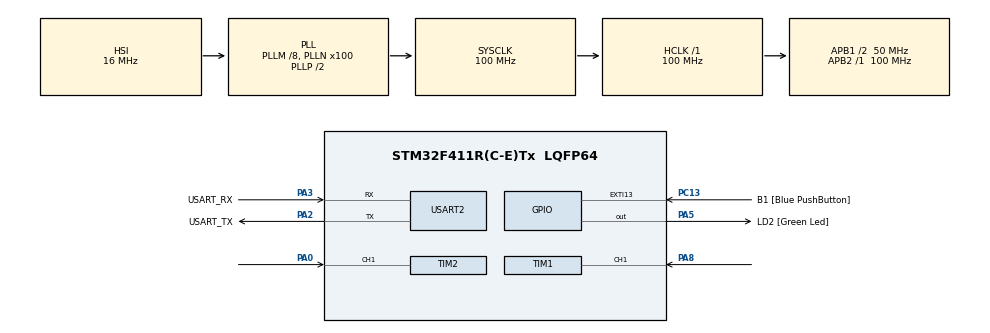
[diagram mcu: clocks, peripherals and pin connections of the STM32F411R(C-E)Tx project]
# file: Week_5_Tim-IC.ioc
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Dma.Request0=TIM1_CH1
Dma.Request1=TIM2_CH1
Dma.TIM1_CH1.0.Direction=DMA_PERIPH_TO_MEMORY
Dma.TIM1_CH1.0.FIFOMode=DMA_FIFOMODE_DISABLE
Dma.TIM1_CH1.0.Instance=DMA2_Stream1
Dma.TIM1_CH1.0.MemDataAlignment=DMA_MDATAALIGN_HALFWORD
Dma.TIM1_CH1.0.MemInc=DMA_MINC_ENABLE
Dma.TIM1_CH1.0.Mode=DMA_CIRCULAR
Dma.TIM1_CH1.0.PeriphDataAlignment=DMA_PDATAALIGN_HALFWORD
Dma.TIM1_CH1.0.PeriphInc=DMA_PINC_DISABLE
Dma.TIM1_CH1.0.Priority=DMA_PRIORITY_LOW
Dma.TIM2_CH1.1.Direction=DMA_PERIPH_TO_MEMORY
Dma.TIM2_CH1.1.FIFOMode=DMA_FIFOMODE_DISABLE
Dma.TIM2_CH1.1.Instance=DMA1_Stream5
Dma.TIM2_CH1.1.MemDataAlignment=DMA_MDATAALIGN_WORD
Dma.TIM2_CH1.1.MemInc=DMA_MINC_ENABLE
Dma.TIM2_CH1.1.Mode=DMA_CIRCULAR
Dma.TIM2_CH1.1.PeriphDataAlignment=DMA_PDATAALIGN_WORD
Dma.TIM2_CH1.1.PeriphInc=DMA_PINC_DISABLE
Dma.TIM2_CH1.1.Priority=DMA_PRIORITY_LOW
Mcu.Family=STM32F4
Mcu.Name=STM32F411R(C-E)Tx
Mcu.Package=LQFP64
NVIC.DMA1_Stream5_IRQn=true\:0\:0\:false\:false\:true\:false\:true
NVIC.DMA2_Stream1_IRQn=true\:0\:0\:false\:false\:true\:false\:true
NVIC.PriorityGroup=NVIC_PRIORITYGROUP_0
NVIC.TIM1_TRG_COM_TIM11_IRQn=true\:0\:0\:false\:false\:true\:true\:true
NVIC.TIM2_IRQn=true\:0\:0\:false\:false\:true\:true\:true
NVIC.TIM5_IRQn=true\:0\:0\:false\:false\:true\:true\:true
PA0-WKUP.Signal=S_TIM2_CH1_ETR
PA13.GPIO_Label=TMS
PA13.Mode=Serial_Wire
PA13.Signal=SYS_JTMS-SWDIO
PA14.GPIO_Label=TCK
PA14.Mode=Serial_Wire
PA14.Signal=SYS_JTCK-SWCLK
PA2.GPIO_Label=USART_TX
PA2.Mode=Asynchronous
PA2.Signal=USART2_TX
PA3.GPIO_Label=USART_RX
PA3.Mode=Asynchronous
PA3.Signal=USART2_RX
PA5.GPIO_Label=LD2 [Green Led]
PA5.Signal=GPIO_Output
PA8.Signal=S_TIM1_CH1
PB3.GPIO_Label=SWO
PB3.Signal=SYS_JTDO-SWO
PC13-ANTI_TAMP.GPIO_Label=B1 [Blue PushButton]
PC13-ANTI_TAMP.GPIO_ModeDefaultEXTI=GPIO_MODE_IT_FALLING
PC13-ANTI_TAMP.Signal=GPXTI13
PC14-OSC32_IN.Mode=LSE-External-Oscillator
PC14-OSC32_IN.Signal=RCC_OSC32_IN
PC15-OSC32_OUT.Mode=LSE-External-Oscillator
PC15-OSC32_OUT.Signal=RCC_OSC32_OUT
PH0\ -\ OSC_IN.Mode=HSE-External-Clock-Source
PH0\ -\ OSC_IN.Signal=RCC_OSC_IN
PH1\ -\ OSC_OUT.Mode=HSE-External-Clock-Source
PH1\ -\ OSC_OUT.Signal=RCC_OSC_OUT
ProjectManager.HeapSize=0x200
ProjectManager.StackSize=0x400
ProjectManager.TargetToolchain=STM32CubeIDE
RCC.48MHZClocksFreq_Value=50000000
RCC.AHBFreq_Value=100000000
RCC.APB1CLKDivider=RCC_HCLK_DIV2
RCC.APB1Freq_Value=50000000
RCC.APB1TimFreq_Value=100000000
RCC.APB2Freq_Value=100000000
RCC.APB2TimFreq_Value=100000000
RCC.CortexFreq_Value=100000000
RCC.FLatency-AdvancedSettings=FLASH_LATENCY_3
RCC.HCLKFreq_Value=100000000
RCC.HSE_VALUE=8000000
RCC.HSI_VALUE=16000000
RCC.PLLM=8
RCC.PLLN=100
RCC.SYSCLKFreq_VALUE=100000000
RCC.SYSCLKSource=RCC_SYSCLKSOURCE_PLLCLK
RCC.VCOOutputFreq_Value=200000000
SH.S_TIM1_CH1.0=TIM1_CH1,Input_Capture1_from_TI1
SH.S_TIM2_CH1_ETR.0=TIM2_CH1,Input_Capture1_from_TI1
TIM1.Channel-Input_Capture1_from_TI1=TIM_CHANNEL_1
TIM1.ICFilter_CH1=2
TIM1.Prescaler=99
TIM11.AutoReloadPreload=TIM_AUTORELOAD_PRELOAD_DISABLE
TIM11.Prescaler=99
TIM2.Channel-Input_Capture1_from_TI1=TIM_CHANNEL_1
TIM2.Prescaler=99
TIM5.Prescaler=99
USART2.VirtualMode=VM_ASYNC
VP_TIM11_VS_ClockSourceINT.Mode=Enable_Timer
VP_TIM1_VS_ClockSourceINT.Mode=Internal
VP_TIM2_VS_ClockSourceINT.Mode=Internal
VP_TIM5_VS_ClockSourceINT.Mode=Internal
board=NUCLEO-F411RE

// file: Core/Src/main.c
/* USER CODE BEGIN Header */
/**
  ******************************************************************************
  * @file           : main.c
  * @brief          : Main program body
  ******************************************************************************
  * @attention
  *
  * <h2><center>&copy; Copyright (c) 2021 STMicroelectronics.
  * All rights reserved.</center></h2>
  *
  * This software component is licensed by ST under BSD 3-Clause license,
  * the "License"; You may not use this file except in compliance with the
  * License. You may obtain a copy of the License at:
  *                        opensource.org/licenses/BSD-3-Clause
  *
  ******************************************************************************
  */
/* USER CODE END Header */
#include "main.h"

/* USER CODE BEGIN PD */
#define CAPTURENUM 16
/* USER CODE END PD */

TIM_HandleTypeDef htim1;
TIM_HandleTypeDef htim2;
TIM_HandleTypeDef htim5;
TIM_HandleTypeDef htim11;
DMA_HandleTypeDef hdma_tim1_ch1;
DMA_HandleTypeDef hdma_tim2_ch1;

UART_HandleTypeDef huart2;

/* USER CODE BEGIN PV */

// Microsecond Measurement
uint64_t _Micros = 0;

uint64_t Timestamp = 0;

// DMA Buffer
uint32_t CaptureData[CAPTURENUM] = { 0 };

// Different Time of CaptureData
int64_t DiffTime[CAPTURENUM - 1] = { 0 };

// Mean DiffTime
float MeanTime = 0;

// RPM
float Motor_RPM = 0;

/* USER CODE END PV */

void SystemClock_Config(void);
static void MX_GPIO_Init(void);
static void MX_DMA_Init(void);
static void MX_USART2_UART_Init(void);
static void MX_TIM11_Init(void);
static void MX_TIM1_Init(void);
static void MX_TIM2_Init(void);
static void MX_TIM5_Init(void);
/* USER CODE BEGIN PFP */

// Read SPD of Encoder
void Encoder_Speed_Reader_Cycle();

// Read TIM11
uint64_t Micros();

/* USER CODE END PFP */

int main(void)
{

  /* MCU Configuration--------------------------------------------------------*/

  /* Reset of all peripherals, Initializes the Flash interface and the Systick. */
  HAL_Init();

  /* Configure the system clock */
  SystemClock_Config();

  /* Initialize all configured peripherals */
  MX_GPIO_Init();
  MX_DMA_Init();
  MX_USART2_UART_Init();
  MX_TIM11_Init();
  MX_TIM1_Init();
  MX_TIM2_Init();
  MX_TIM5_Init();
  /* USER CODE BEGIN 2 */

  // Start Microsecond Timer
  HAL_TIM_Base_Start_IT(&htim5);

  // ** Start Input Capture in DMA **
  // Start TIM1
  HAL_TIM_Base_Start(&htim2);
  // Start DMA
  HAL_TIM_IC_Start_DMA(&htim2, TIM_CHANNEL_1, CaptureData, CAPTURENUM);

  // Start Input Capture

  /* USER CODE END 2 */

  /* Infinite loop */
  /* USER CODE BEGIN WHILE */
  while (1)
  {
	  Encoder_Speed_Reader_Cycle();

	  if (Micros() - Timestamp >= 100000)
	  {
		  Timestamp = Micros();
		  HAL_GPIO_TogglePin(LD2_GPIO_Port, LD2_Pin);
	  }
    /* USER CODE END WHILE */

  }
}

void SystemClock_Config(void)
{
  RCC_OscInitTypeDef RCC_OscInitStruct = {0};
  RCC_ClkInitTypeDef RCC_ClkInitStruct = {0};

  /** Configure the main internal regulator output voltage
  */
  __HAL_RCC_PWR_CLK_ENABLE();
  __HAL_PWR_VOLTAGESCALING_CONFIG(PWR_REGULATOR_VOLTAGE_SCALE1);
  /** Initializes the RCC Oscillators according to the specified parameters
  * in the RCC_OscInitTypeDef structure.
  */
  RCC_OscInitStruct.OscillatorType = RCC_OSCILLATORTYPE_HSI;
  RCC_OscInitStruct.HSIState = RCC_HSI_ON;
  RCC_OscInitStruct.HSICalibrationValue = RCC_HSICALIBRATION_DEFAULT;
  RCC_OscInitStruct.PLL.PLLState = RCC_PLL_ON;
  RCC_OscInitStruct.PLL.PLLSource = RCC_PLLSOURCE_HSI;
  RCC_OscInitStruct.PLL.PLLM = 8;
  RCC_OscInitStruct.PLL.PLLN = 100;
  RCC_OscInitStruct.PLL.PLLP = RCC_PLLP_DIV2;
  RCC_OscInitStruct.PLL.PLLQ = 4;
  if (HAL_RCC_OscConfig(&RCC_OscInitStruct) != HAL_OK)
  {
    Error_Handler();
  }
  /** Initializes the CPU, AHB and APB buses clocks
  */
  RCC_ClkInitStruct.ClockType = RCC_CLOCKTYPE_HCLK|RCC_CLOCKTYPE_SYSCLK
                              |RCC_CLOCKTYPE_PCLK1|RCC_CLOCKTYPE_PCLK2;
  RCC_ClkInitStruct.SYSCLKSource = RCC_SYSCLKSOURCE_PLLCLK;
  RCC_ClkInitStruct.AHBCLKDivider = RCC_SYSCLK_DIV1;
  RCC_ClkInitStruct.APB1CLKDivider = RCC_HCLK_DIV2;
  RCC_ClkInitStruct.APB2CLKDivider = RCC_HCLK_DIV1;

  if (HAL_RCC_ClockConfig(&RCC_ClkInitStruct, FLASH_LATENCY_3) != HAL_OK)
  {
    Error_Handler();
  }
}

static void MX_TIM1_Init(void)
{

  TIM_ClockConfigTypeDef sClockSourceConfig = {0};
  TIM_MasterConfigTypeDef sMasterConfig = {0};
  TIM_IC_InitTypeDef sConfigIC = {0};

  htim1.Instance = TIM1;
  htim1.Init.Prescaler = 99;
  htim1.Init.CounterMode = TIM_COUNTERMODE_UP;
  htim1.Init.Period = 65535;
  htim1.Init.ClockDivision = TIM_CLOCKDIVISION_DIV1;
  htim1.Init.RepetitionCounter = 0;
  htim1.Init.AutoReloadPreload = TIM_AUTORELOAD_PRELOAD_DISABLE;
  if (HAL_TIM_Base_Init(&htim1) != HAL_OK)
  {
    Error_Handler();
  }
  sClockSourceConfig.ClockSource = TIM_CLOCKSOURCE_INTERNAL;
  if (HAL_TIM_ConfigClockSource(&htim1, &sClockSourceConfig) != HAL_OK)
  {
    Error_Handler();
  }
  if (HAL_TIM_IC_Init(&htim1) != HAL_OK)
  {
    Error_Handler();
  }
  sMasterConfig.MasterOutputTrigger = TIM_TRGO_RESET;
  sMasterConfig.MasterSlaveMode = TIM_MASTERSLAVEMODE_DISABLE;
  if (HAL_TIMEx_MasterConfigSynchronization(&htim1, &sMasterConfig) != HAL_OK)
  {
    Error_Handler();
  }
  sConfigIC.ICPolarity = TIM_INPUTCHANNELPOLARITY_RISING;
  sConfigIC.ICSelection = TIM_ICSELECTION_DIRECTTI;
  sConfigIC.ICPrescaler = TIM_ICPSC_DIV1;
  sConfigIC.ICFilter = 2;
  if (HAL_TIM_IC_ConfigChannel(&htim1, &sConfigIC, TIM_CHANNEL_1) != HAL_OK)
  {
    Error_Handler();
  }

}

static void MX_TIM2_Init(void)
{

  TIM_ClockConfigTypeDef sClockSourceConfig = {0};
  TIM_MasterConfigTypeDef sMasterConfig = {0};
  TIM_IC_InitTypeDef sConfigIC = {0};

  htim2.Instance = TIM2;
  htim2.Init.Prescaler = 99;
  htim2.Init.CounterMode = TIM_COUNTERMODE_UP;
  htim2.Init.Period = 4294967295;
  htim2.Init.ClockDivision = TIM_CLOCKDIVISION_DIV1;
  htim2.Init.AutoReloadPreload = TIM_AUTORELOAD_PRELOAD_DISABLE;
  if (HAL_TIM_Base_Init(&htim2) != HAL_OK)
  {
    Error_Handler();
  }
  sClockSourceConfig.ClockSource = TIM_CLOCKSOURCE_INTERNAL;
  if (HAL_TIM_ConfigClockSource(&htim2, &sClockSourceConfig) != HAL_OK)
  {
    Error_Handler();
  }
  if (HAL_TIM_IC_Init(&htim2) != HAL_OK)
  {
    Error_Handler();
  }
  sMasterConfig.MasterOutputTrigger = TIM_TRGO_RESET;
  sMasterConfig.MasterSlaveMode = TIM_MASTERSLAVEMODE_DISABLE;
  if (HAL_TIMEx_MasterConfigSynchronization(&htim2, &sMasterConfig) != HAL_OK)
  {
    Error_Handler();
  }
  sConfigIC.ICPolarity = TIM_INPUTCHANNELPOLARITY_RISING;
  sConfigIC.ICSelection = TIM_ICSELECTION_DIRECTTI;
  sConfigIC.ICPrescaler = TIM_ICPSC_DIV1;
  sConfigIC.ICFilter = 0;
  if (HAL_TIM_IC_ConfigChannel(&htim2, &sConfigIC, TIM_CHANNEL_1) != HAL_OK)
  {
    Error_Handler();
  }

}

static void MX_TIM5_Init(void)
{

  TIM_ClockConfigTypeDef sClockSourceConfig = {0};
  TIM_MasterConfigTypeDef sMasterConfig = {0};

  htim5.Instance = TIM5;
  htim5.Init.Prescaler = 99;
  htim5.Init.CounterMode = TIM_COUNTERMODE_UP;
  htim5.Init.Period = 4294967295;
  htim5.Init.ClockDivision = TIM_CLOCKDIVISION_DIV1;
  htim5.Init.AutoReloadPreload = TIM_AUTORELOAD_PRELOAD_DISABLE;
  if (HAL_TIM_Base_Init(&htim5) != HAL_OK)
  {
    Error_Handler();
  }
  sClockSourceConfig.ClockSource = TIM_CLOCKSOURCE_INTERNAL;
  if (HAL_TIM_ConfigClockSource(&htim5, &sClockSourceConfig) != HAL_OK)
  {
    Error_Handler();
  }
  sMasterConfig.MasterOutputTrigger = TIM_TRGO_RESET;
  sMasterConfig.MasterSlaveMode = TIM_MASTERSLAVEMODE_DISABLE;
  if (HAL_TIMEx_MasterConfigSynchronization(&htim5, &sMasterConfig) != HAL_OK)
  {
    Error_Handler();
  }

}

static void MX_TIM11_Init(void)
{

  htim11.Instance = TIM11;
  htim11.Init.Prescaler = 99;
  htim11.Init.CounterMode = TIM_COUNTERMODE_UP;
  htim11.Init.Period = 65535;
  htim11.Init.ClockDivision = TIM_CLOCKDIVISION_DIV1;
  htim11.Init.AutoReloadPreload = TIM_AUTORELOAD_PRELOAD_DISABLE;
  if (HAL_TIM_Base_Init(&htim11) != HAL_OK)
  {
    Error_Handler();
  }

}

static void MX_USART2_UART_Init(void)
{

  huart2.Instance = USART2;
  huart2.Init.BaudRate = 115200;
  huart2.Init.WordLength = UART_WORDLENGTH_8B;
  huart2.Init.StopBits = UART_STOPBITS_1;
  huart2.Init.Parity = UART_PARITY_NONE;
  huart2.Init.Mode = UART_MODE_TX_RX;
  huart2.Init.HwFlowCtl = UART_HWCONTROL_NONE;
  huart2.Init.OverSampling = UART_OVERSAMPLING_16;
  if (HAL_UART_Init(&huart2) != HAL_OK)
  {
    Error_Handler();
  }

}

static void MX_DMA_Init(void)
{

  /* DMA controller clock enable */
  __HAL_RCC_DMA2_CLK_ENABLE();
  __HAL_RCC_DMA1_CLK_ENABLE();

  /* DMA interrupt init */
  /* DMA1_Stream5_IRQn interrupt configuration */
  HAL_NVIC_SetPriority(DMA1_Stream5_IRQn, 0, 0);
  HAL_NVIC_EnableIRQ(DMA1_Stream5_IRQn);
  /* DMA2_Stream1_IRQn interrupt configuration */
  HAL_NVIC_SetPriority(DMA2_Stream1_IRQn, 0, 0);
  HAL_NVIC_EnableIRQ(DMA2_Stream1_IRQn);

}

static void MX_GPIO_Init(void)
{
  GPIO_InitTypeDef GPIO_InitStruct = {0};

  /* GPIO Ports Clock Enable */
  __HAL_RCC_GPIOC_CLK_ENABLE();
  __HAL_RCC_GPIOH_CLK_ENABLE();
  __HAL_RCC_GPIOA_CLK_ENABLE();
  __HAL_RCC_GPIOB_CLK_ENABLE();

  /*Configure GPIO pin Output Level */
  HAL_GPIO_WritePin(LD2_GPIO_Port, LD2_Pin, GPIO_PIN_RESET);

  /*Configure GPIO pin : B1_Pin */
  GPIO_InitStruct.Pin = B1_Pin;
  GPIO_InitStruct.Mode = GPIO_MODE_IT_FALLING;
  GPIO_InitStruct.Pull = GPIO_NOPULL;
  HAL_GPIO_Init(B1_GPIO_Port, &GPIO_InitStruct);

  /*Configure GPIO pin : LD2_Pin */
  GPIO_InitStruct.Pin = LD2_Pin;
  GPIO_InitStruct.Mode = GPIO_MODE_OUTPUT_PP;
  GPIO_InitStruct.Pull = GPIO_NOPULL;
  GPIO_InitStruct.Speed = GPIO_SPEED_FREQ_LOW;
  HAL_GPIO_Init(LD2_GPIO_Port, &GPIO_InitStruct);

}

/* USER CODE BEGIN 4 */

void Encoder_Speed_Reader_Cycle()
{
	// Get DMA Position from Data Number
	uint32_t CapPos = CAPTURENUM - __HAL_DMA_GET_COUNTER(htim2.hdma[TIM_DMA_ID_CC1]);
	uint32_t sum = 0;

	// Calculate Diff from all Buffer
	for (register int i = 0 ; i < CAPTURENUM - 1 ; i++)
	{
		DiffTime[i] = CaptureData[(CapPos + 1 + i) % CAPTURENUM] - CaptureData[(CapPos + i) % CAPTURENUM];

		if (DiffTime[i] < 0)
		{
			DiffTime[i] += 4294967295;
		}

		// Sum all 15 Diff Time
		sum += DiffTime[i];
	}
	// Find Mean Time
	MeanTime = sum / (float)(CAPTURENUM-1);

	// Find RPM
	Motor_RPM = (60 * 1000000) / (float)(MeanTime * 12 * 64);

}

uint64_t Micros()
{
	return _Micros + htim5.Instance -> CNT; // Counter of TIM11
}

// Interrupt
void HAL_TIM_PeriodElapsedCallback(TIM_HandleTypeDef *htim)
{
	if (htim == &htim5)
	{
		_Micros += 4294967295;
	}
}
/* USER CODE END 4 */

void Error_Handler(void)
{
  __disable_irq();
  while (1)
  {
  }
}

/************************ (C) COPYRIGHT STMicroelectronics *****END OF FILE****/
